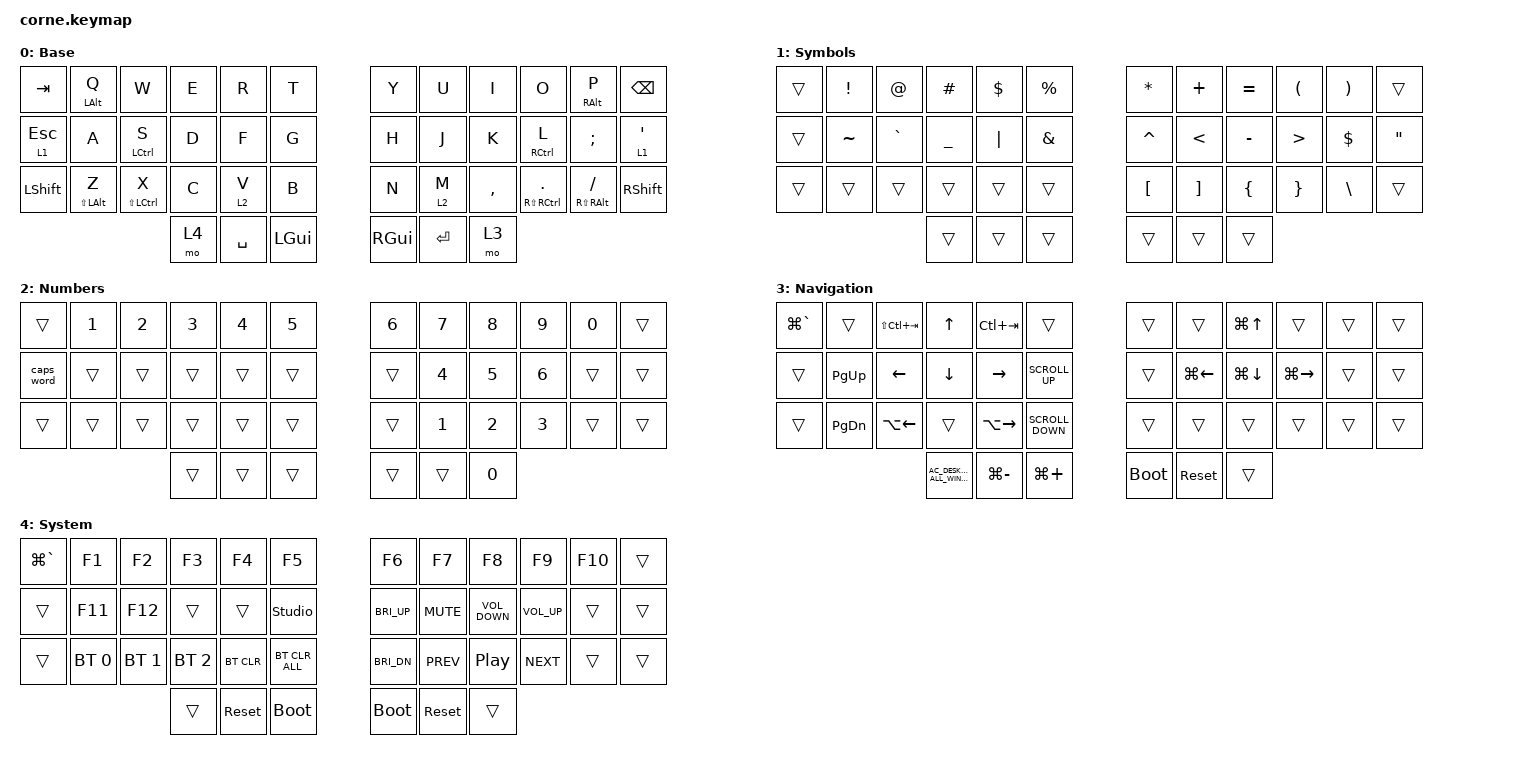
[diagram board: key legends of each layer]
#include <behaviors.dtsi>
#include <dt-bindings/zmk/bt.h>
#include <dt-bindings/zmk/keys.h>

#define DEF 0
#define NAV 1
#define SYM 2
#define ADJ 3
#define extra1 4

/ {
    behaviors {
        hm: homerow_mods {
            compatible = "zmk,behavior-hold-tap";
            label = "HOMEROW_MODS";
            #binding-cells = <2>;
            tapping-term-ms = <200>;
            quick_tap_ms = <0>;
            flavor = "tap-preferred";
            bindings = <&mo>, <&kp>;

            quick-tap-ms = <180>;
            global-quick-tap;
        };

        para: para {
            compatible = "zmk,behavior-tap-dance";
            label = "PARA";
            #binding-cells = <0>;
            bindings = <&kp LEFT_PARENTHESIS>, <&kp RIGHT_PARENTHESIS>;
        };

        caps: caps {
            compatible = "zmk,behavior-caps-word";
            label = "CAPS";
            #binding-cells = <0>;
            continue-list = <MINUS BACKSPACE>;
        };

        paraless: paraless {
            compatible = "zmk,behavior-mod-morph";
            label = "PARALESS";
            bindings = <&kp LEFT_PARENTHESIS>, <&kp LESS_THAN>;

            #binding-cells = <0>;
            mods = <(MOD_LSFT)>;
        };

        paragreat: paragreat {
            compatible = "zmk,behavior-mod-morph";
            label = "PARAGREAT";
            bindings = <&kp RIGHT_PARENTHESIS>, <&kp GREATER_THAN>;

            #binding-cells = <0>;
            mods = <(MOD_LSFT)>;
        };

        hmm: hmm {
            compatible = "zmk,behavior-hold-tap";
            label = "HMM";
            #binding-cells = <2>;
            tapping-term-ms = <200>;
            quick_tap_ms = <0>;
            flavor = "tap-preferred";
            bindings = <&kp>, <&kp>;

            quick-tap-ms = <180>;
            global-quick-tap;
        };

        blt: blt {
            compatible = "zmk,behavior-hold-tap";
            label = "balanced lt";
            bindings = <&mo>, <&kp>;

            #binding-cells = <2>;
            tapping-term-ms = <200>;
            flavor = "balanced";
            hold-while-undecided;
        };
    };

    macros {
        browsertab: browsertab {
            compatible = "zmk,behavior-macro";
            #binding-cells = <0>;
            bindings =
                <&macro_press>,
                <&kp LCTRL>,
                <&macro_tap>,
                <&kp TAB>,
                <&macro_release>,
                <&kp LCTRL>;
        };

        browsertab_prev: browsertab_prev {
            compatible = "zmk,behavior-macro";
            #binding-cells = <0>;
            bindings =
                <&macro_press>,
                <&kp LCTRL &kp LSHFT>,
                <&macro_tap>,
                <&kp TAB>,
                <&macro_release>,
                <&kp LCTRL &kp LSHFT>;

            label = "BROWSERTAB_PREV";
        };

        zoom_in: zoom_in {
            compatible = "zmk,behavior-macro";
            #binding-cells = <0>;
            bindings =
                <&macro_press>,
                <&kp LGUI>,
                <&macro_tap>,
                <&kp PLUS>,
                <&macro_release>,
                <&kp LGUI>;

            label = "ZOOM_IN";
        };

        zoom_out: zoom_out {
            compatible = "zmk,behavior-macro";
            #binding-cells = <0>;
            bindings =
                <&macro_press>,
                <&kp LGUI>,
                <&macro_tap>,
                <&kp MINUS>,
                <&macro_release>,
                <&kp LGUI>;

            label = "ZOOM_OUT";
        };
    };

    combos {
        compatible = "zmk,combos";

        lparen {
            bindings = <&kp LEFT_PARENTHESIS>;
            key-positions = <3 4>;
            timeout-ms = <20>;
            require-prior-idle-ms = <20>;
        };

        rparen {
            bindings = <&kp RIGHT_PARENTHESIS>;
            key-positions = <7 8>;
            timeout-ms = <20>;
            require-prior-idle-ms = <20>;
        };

        lbrkt {
            bindings = <&kp LBKT>;
            key-positions = <15 16>;
            timeout-ms = <20>;
            require-prior-idle-ms = <20>;
        };

        rbrkt {
            bindings = <&kp RBKT>;
            key-positions = <20 19>;
            timeout-ms = <20>;
            require-prior-idle-ms = <20>;
        };

        lbrc {
            bindings = <&kp LBRC>;
            key-positions = <27 28>;
            timeout-ms = <20>;
            require-prior-idle-ms = <20>;
        };

        rbrc {
            bindings = <&kp RBRC>;
            key-positions = <31 32>;
            timeout-ms = <20>;
            require-prior-idle-ms = <20>;
        };
    };

    //

    keymap {
        compatible = "zmk,keymap";

        DEF {
            display-name = "Base";

            // -----------------------------------------------------------------------------------------
            // |  Q  |  W  |  E  |  R  |  T  |   |  Y  |  U   |  I  |  O  |  P  |
            // |  A  |  S  |  D  |  F  |  G  |   |  H  |  J   |  K  |  L  |  ;  |
            // |  Z  |  X  |  C  |  V  |  B  |   |  N  |  M   |  ,  |  .  |  /  |
            // | GUI | CTRL | SHFT | LWR | SPC |   | ENT | RSE  | BKSP | ALT | ESC |

            bindings = <
&kp TAB        &hmm LEFT_ALT Q  &kp W             &kp E  &kp R      &kp T       &kp Y     &kp U    &kp I      &kp O                  &hmm RIGHT_ALT P    &kp BACKSPACE
&blt 1 ESCAPE  &kp A            &hmm LCTRL S      &kp D  &kp F      &kp G       &kp H     &kp J    &kp K      &hmm RCTRL L           &kp SEMI            &blt 1 SQT
&kp LSHFT      &hmm LS(LALT) Z  &hmm LS(LCTRL) X  &kp C  &hm 2 V    &kp B       &kp N     &hm 2 M  &kp COMMA  &hmm RS(RCTRL) PERIOD  &hmm RS(RALT) FSLH  &kp RSHFT
                                                  &mo 4  &kp SPACE  &kp LGUI    &kp RGUI  &kp RET  &mo 3
            >;
        };

        SYM {
            display-name = "Symbols";

            // -----------------------------------------------------------------------------------------
            // |  TAB |  !  |  @  |  #  |  $  |  %  |   |  ^  |  &  |  *  |  (  |  )  | BKSP |
            // | CTRL |     |     |     |     |     |   |  -  |  =  |  [  |  ]  |  \  |  `   |
            // | SHFT |     |     |     |     |     |   |  _  |  +  |  {  |  }  | "|" |  ~   |
            //                    | GUI |     | SPC |   | ENT |     | ALT |

            bindings = <
&trans  &kp EXCL   &kp AT     &kp HASH        &kp DLLR  &kp PRCNT    &kp ASTRK  &kp PLUS  &kp EQUAL  &kp LEFT_PARENTHESIS  &kp RPAR       &trans
&trans  &kp TILDE  &kp GRAVE  &kp UNDERSCORE  &kp PIPE  &kp AMPS     &kp CARET  &kp LT    &kp MINUS  &kp GT                &kp DOLLAR     &kp DOUBLE_QUOTES
&trans  &trans     &trans     &trans          &trans    &trans       &kp LBKT   &kp RBKT  &kp LBRC   &kp RBRC              &kp BACKSLASH  &trans
                              &trans          &trans    &trans       &trans     &trans    &trans
            >;
        };

        NUM {
            display-name = "Numbers";
            bindings = <
&trans      &kp N1  &kp N2  &kp N3  &kp N4  &kp N5    &kp N6  &kp N7  &kp N8  &kp N9  &kp N0  &trans
&caps_word  &trans  &trans  &trans  &trans  &trans    &trans  &kp N4  &kp N5  &kp N6  &trans  &trans
&trans      &trans  &trans  &trans  &trans  &trans    &trans  &kp N1  &kp N2  &kp N3  &trans  &trans
                            &trans  &trans  &trans    &trans  &trans  &kp N0
            >;
        };

        NAV {
            display-name = "Navigation";

            // -----------------------------------------------------------------------------------------
            // |  TAB |  1  |  2  |  3  |  4  |  5  |   |  6  |  7  |  8  |  9  |  0  | BKSP |
            // | BTCLR| BT1 | BT2 | BT3 | BT4 | BT5 |   | LFT | DWN |  UP | RGT |     |      |
            // | SHFT |     |     |     |     |     |   |     |     |     |     |     |      |
            // | GUI | CTRL | SHFT | LWR | SPC |   | ENT | RSE  | BKSP | ALT | ESC |

            bindings = <
&kp LG(GRAVE)  &trans         &kp LS(LC(TAB))  &kp UP_ARROW                       &kp LC(TAB)          &trans               &trans       &trans              &kp LG(UP_ARROW)    &trans         &trans  &trans
&trans         &kp PG_UP      &kp LEFT_ARROW   &kp DOWN_ARROW                     &kp RIGHT_ARROW      &kp K_SCROLL_UP      &trans       &kp LG(LEFT_ARROW)  &kp LG(DOWN_ARROW)  &kp LG(RIGHT)  &trans  &trans
&trans         &kp PAGE_DOWN  &kp LA(LEFT)     &trans                             &kp LA(RIGHT_ARROW)  &kp K_SCROLL_DOWN    &trans       &trans              &trans              &trans         &trans  &trans
                                               &kp C_AC_DESKTOP_SHOW_ALL_WINDOWS  &kp LG(MINUS)        &kp LG(PLUS)         &bootloader  &sys_reset          &trans
            >;
        };

        ADJ {
            display-name = "System";
            bindings = <
&kp LG(GRAVE)  &kp F1        &kp F2        &kp F3        &kp F4      &kp F5            &kp F6        &kp F7      &kp F8             &kp F9        &kp F10  &trans
&trans         &kp F11       &kp F12       &trans        &trans      &studio_unlock    &kp C_BRI_UP  &kp C_MUTE  &kp C_VOLUME_DOWN  &kp C_VOL_UP  &trans   &trans
&trans         &bt BT_SEL 0  &bt BT_SEL 1  &bt BT_SEL 2  &bt BT_CLR  &bt BT_CLR_ALL    &kp C_BRI_DN  &kp C_PREV  &kp C_PLAY_PAUSE   &kp C_NEXT    &trans   &trans
                                           &trans        &sys_reset  &bootloader       &bootloader   &sys_reset  &trans
            >;
        };
    };

    conditional_layers { compatible = "zmk,conditional-layers"; };
};
